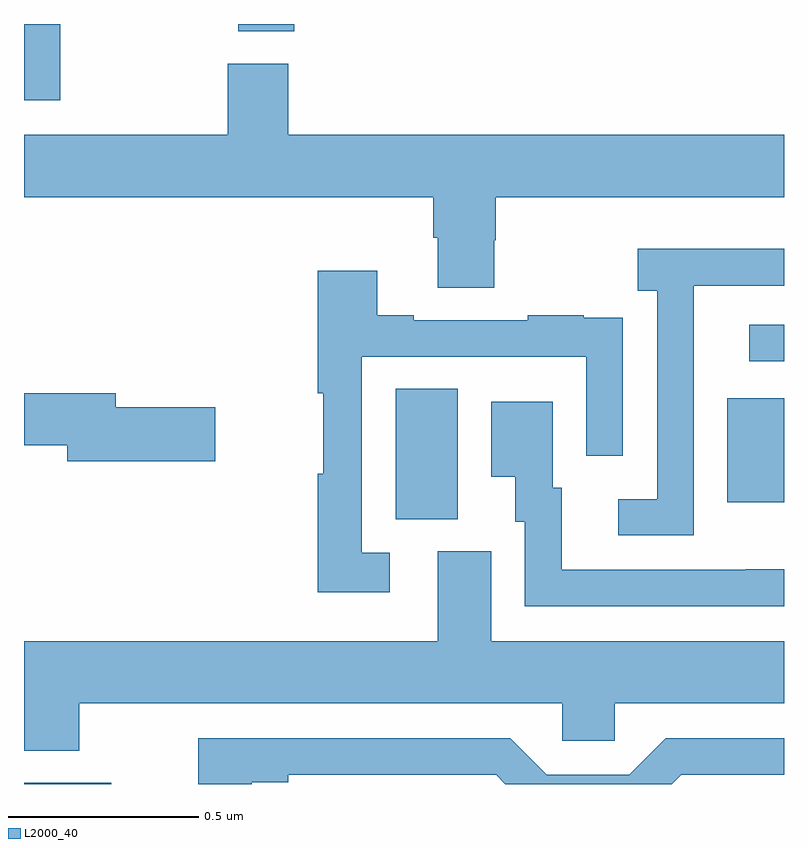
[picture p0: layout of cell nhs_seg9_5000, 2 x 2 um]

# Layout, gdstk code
import gdstk
lib = gdstk.Library(unit=1e-6, precision=1e-09)
def R(c, l, rs):  # rectangles x0, y0, x1, y1
    for r in rs: c.add(gdstk.rectangle(r[:2], r[2:], *l))
def P(c, l, *ps):  # polygons
    for p in ps: c.add(gdstk.Polygon(p, *l))
L2000_40 = (2000, 40)

nhs_seg9_5000 = lib.new_cell('nhs_seg9_5000')
R(nhs_seg9_5000, L2000_40, [(173,1237.5,173.229,1237.503), (173.978,1238.197,174.142,1238.54), (174.851,1238.241,175,1238.515), (174.909,1238.613,175,1238.709), (173,1239.299,173.095,1239.5), (173.564,1239.481,173.711,1239.5)])
P(nhs_seg9_5000, L2000_40, [(174.237,1238.931),(174.242,1238.931),(174.242,1239.044),(175,1239.044),(175,1239.208),(173.696,1239.208),(173.696,1239.396),(173.536,1239.396),(173.536,1239.208),(173,1239.208),(173,1239.044),(174.077,1239.044),(174.077,1238.938),(174.089,1238.938),(174.089,1238.806),(174.237,1238.806)],
  [(174.762,1238.611),(174.763,1238.611),(174.763,1238.811),(175,1238.811),(175,1238.908),(174.615,1238.908),(174.615,1238.798),(174.666,1238.798),(174.666,1238.25),(174.564,1238.25),(174.564,1238.154),(174.762,1238.154)],
  [(173.962,1238.109),(173.889,1238.109),(173.889,1238.625),(174.48,1238.625),(174.48,1238.364),(174.576,1238.364),(174.576,1238.618),(174.575,1238.618),(174.575,1238.727),(174.473,1238.727),(174.473,1238.734),(174.325,1238.734),(174.325,1238.721),(174.025,1238.721),(174.025,1238.734),(173.929,1238.734),(173.929,1238.851),(173.773,1238.851),(173.773,1238.528),(173.788,1238.528),(173.788,1238.316),(173.773,1238.316),(173.773,1238.004),(173.962,1238.004)],
  [(173.503,1238.492),(173.242,1238.492),(173.242,1238.528),(173,1238.528),(173,1238.392),(173.114,1238.392),(173.114,1238.35),(173.503,1238.35)],
  [(175,1238.065),(174.899,1238.065),(174.899,1238.064),(174.415,1238.064),(174.415,1238.28),(174.391,1238.28),(174.391,1238.506),(174.23,1238.506),(174.23,1238.309),(174.293,1238.309),(174.293,1238.19),(174.318,1238.19),(174.318,1237.968),(175,1237.968)],
  [(173.145,1237.712),(174.417,1237.712),(174.417,1237.614),(174.555,1237.614),(174.555,1237.712),(175,1237.712),(175,1237.876),(174.229,1237.876),(174.229,1238.112),(174.089,1238.112),(174.089,1237.876),(173,1237.876),(173,1237.588),(173.145,1237.588)],
  [(173.599,1237.504),(173.695,1237.504),(173.695,1237.524),(174.243,1237.524),(174.267,1237.5),(174.705,1237.5),(174.729,1237.524),(175,1237.524),(175,1237.62),(174.689,1237.62),(174.593,1237.524),(174.375,1237.524),(174.279,1237.62),(173.459,1237.62),(173.459,1237.5),(173.599,1237.5)])

lib.write_gds('nhs_seg9_5000.gds')
